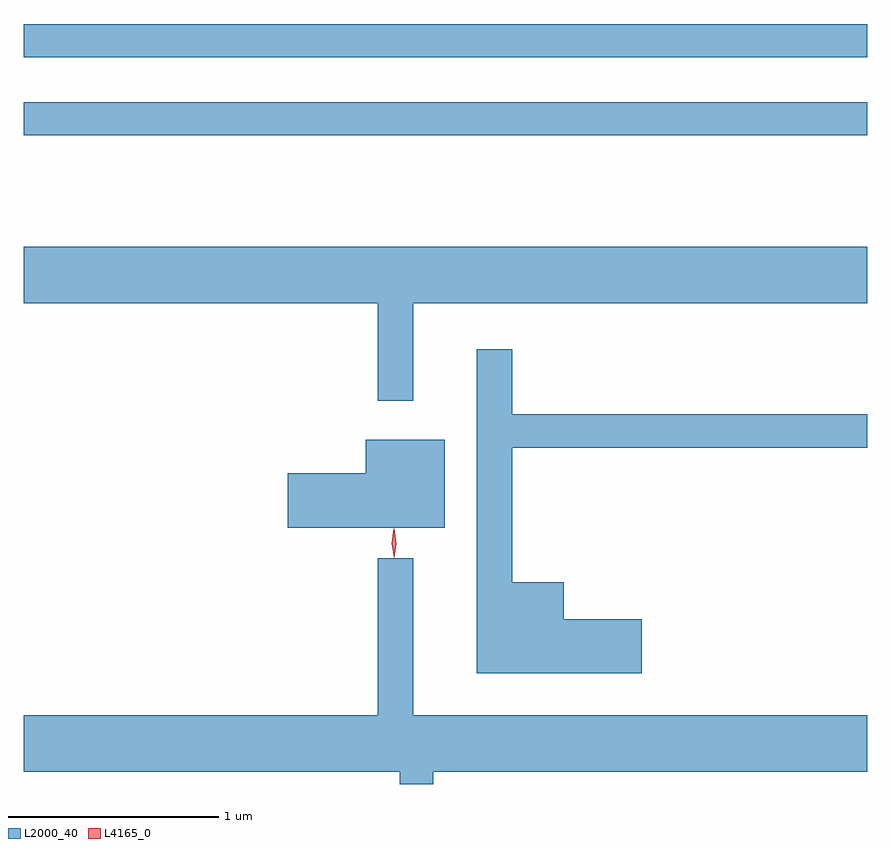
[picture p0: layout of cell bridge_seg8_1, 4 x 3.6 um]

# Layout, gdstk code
import gdstk
lib = gdstk.Library(unit=1e-6, precision=1e-09)
def R(c, l, rs):  # rectangles x0, y0, x1, y1
    for r in rs: c.add(gdstk.rectangle(r[:2], r[2:], *l))
def P(c, l, *ps):  # polygons
    for p in ps: c.add(gdstk.Polygon(p, *l))
L2000_40 = (2000, 40)
L4165_0 = (4165, 0)

bridge_seg8_1 = lib.new_cell('bridge_seg8_1')
R(bridge_seg8_1, L2000_40, [(1657.043,1912.691,1661.043,1912.849), (1657.043,1913.061,1661.043,1913.219)])
P(bridge_seg8_1, L2000_40, [(1658.889,1911.896),(1661.043,1911.896),(1661.043,1912.164),(1657.043,1912.164),(1657.043,1911.896),(1658.721,1911.896),(1658.721,1911.433),(1658.889,1911.433)],
  [(1659.974,1910.399),(1659.604,1910.399),(1659.604,1910.574),(1659.359,1910.574),(1659.359,1911.211),(1661.043,1911.211),(1661.043,1911.369),(1659.359,1911.369),(1659.359,1911.678),(1659.191,1911.678),(1659.191,1910.141),(1659.974,1910.141)],
  [(1659.039,1911.249),(1658.666,1911.249),(1658.666,1911.089),(1658.296,1911.089),(1658.296,1910.831),(1659.039,1910.831)],
  [(1658.984,1909.676),(1661.043,1909.676),(1661.043,1909.944),(1658.889,1909.944),(1658.889,1910.688),(1658.721,1910.688),(1658.721,1909.944),(1657.043,1909.944),(1657.043,1909.676),(1658.826,1909.676),(1658.826,1909.617),(1658.984,1909.617)])
P(bridge_seg8_1, L4165_0, [(1658.799,1910.69),(1658.789,1910.758),(1658.798,1910.826),(1658.798,1910.826),(1658.799,1910.826),(1658.809,1910.758),(1658.8,1910.69),(1658.8,1910.69)],
  [(1658.799,1910.693),(1658.789,1910.756),(1658.798,1910.819),(1658.798,1910.82),(1658.799,1910.819),(1658.809,1910.756),(1658.8,1910.693),(1658.8,1910.693)])

lib.write_gds('bridge_seg8_1.gds')
